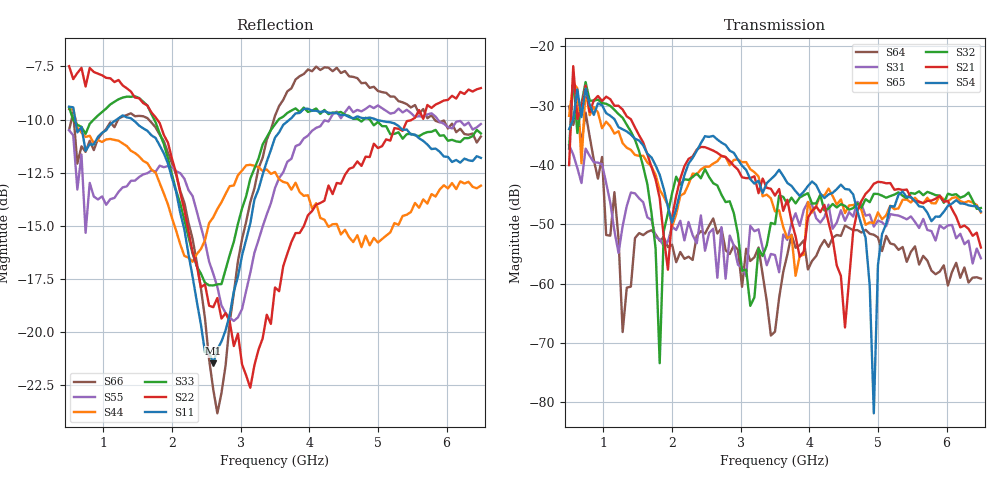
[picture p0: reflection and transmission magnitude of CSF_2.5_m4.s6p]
!Keysight Technologies,M9804A,MY58100912,A.14.10.03
!Date: Thursday, April 27, 2023 10:28:33
!Correction: S11(C  6-Port  )
!S12(C  6-Port  )
!S13(C  6-Port  )
!S14(C  6-Port  )
!S15(C  6-Port  )
!S16(C  6-Port  )
!S21(C  6-Port  )
!S22(C  6-Port  )
!S23(C  6-Port  )
!S24(C  6-Port  )
!S25(C  6-Port  )
!S26(C  6-Port  )
!S31(C  6-Port  )
!S32(C  6-Port  )
!S33(C  6-Port  )
!S34(C  6-Port  )
!S35(C  6-Port  )
!S36(C  6-Port  )
!S41(C  6-Port  )
!S42(C  6-Port  )
!S43(C  6-Port  )
!S44(C  6-Port  )
!S45(C  6-Port  )
!S46(C  6-Port  )
!S51(C  6-Port  )
!S52(C  6-Port  )
!S53(C  6-Port  )
!S54(C  6-Port  )
!S55(C  6-Port  )
!S56(C  6-Port  )
!S61(C  6-Port  )
!S62(C  6-Port  )
!S63(C  6-Port  )
!S64(C  6-Port  )
!S65(C  6-Port  )
!S66(C  6-Port  )
!S6P File: Measurement: :
# Hz S  RI  R 50
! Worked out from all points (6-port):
!   101 points, 500 MHz to 6.5 GHz, reference 50 ohm
!   strongest paths, dB at 500 MHz, 2 GHz, 3.5 GHz, 5 GHz, 6.5 GHz:
!     S54: -33.9, -49.7, -41.7, -56.8, -47.8
!     S21: -40.0, -48.8, -45.1, -42.8, -53.9
!     S32: -37.2, -44.8, -50.0, -44.9, -47.2
!     S65: -31.7, -50.4, -47.8, -48.0, -48.0
!     S31: -36.6, -50.4, -55.2, -49.3, -55.7
!     S64: -30.1, -53.4, -68.1, -52.2, -59.1
!   lowest |S11| = -21.5 dB at 2.6 GHz (marker M1), VSWR 1.18, Z = 42.5 + j2.19 ohm
!   |S11| at or under -10 dB: 589.4 MHz to 1.192 GHz (602.9 MHz wide, 67.7 % of centre); 1.424 GHz to 3.713 GHz (2.289 GHz wide, 89.1 % of centre); 4.975 GHz to end of sweep
